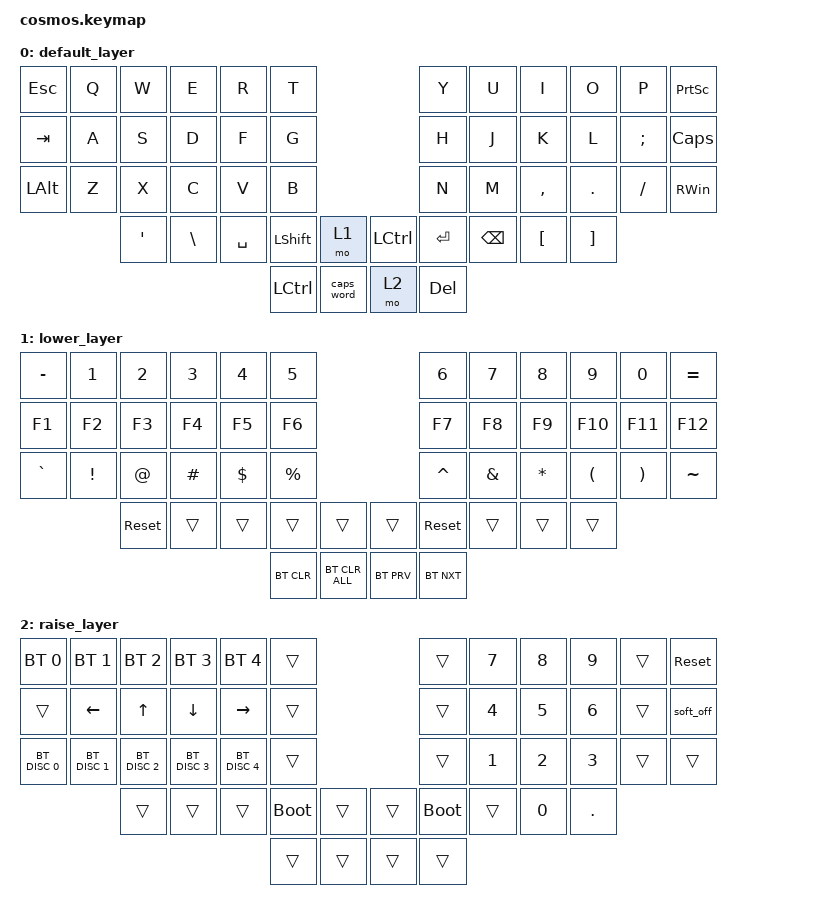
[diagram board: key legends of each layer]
/*
 * Copyright (c) 2020 The ZMK Contributors
 *
 * SPDX-License-Identifier: MIT
 */

#include <behaviors.dtsi>
#include <dt-bindings/zmk/bt.h>
#include <dt-bindings/zmk/keys.h>

/ {
    keymap {
        compatible = "zmk,keymap";

        default_layer {
            // ------------------------------------------------------------------------------------------------------------
            // |  ESC  |  1  |  2  |  3   |  4   |  5   |                   |  6   |  7    |  8    |  9   |   0   |   `   |
            // |  TAB  |  Q  |  W  |  E   |  R   |  T   |                   |  Y   |  U    |  I    |  O   |   P   |   -   |
            // |  CTRL |  A  |  S  |  D   |  F   |  G   |                   |  H   |  J    |  K    |  L   |   ;   |   '   |
            // | SHIFT |  Z  |  X  |  C   |  V   |  B   |   "["  |  |  "]"  |  N   |  M    |  ,    |  .   |   /   | SHIFT |
            //                            | GUI  | LOWER|  SPACE |  | ENTER | RAISE|  ALT  |

            bindings = <
&kp ESC       &kp Q  &kp W    &kp E     &kp R      &kp T                              &kp Y      &kp U          &kp I             &kp O              &kp P      &kp PRINTSCREEN
&kp TAB       &kp A  &kp S    &kp D     &kp F      &kp G                              &kp H      &kp J          &kp K             &kp L              &kp SEMI   &kp CAPSLOCK
&kp LEFT_ALT  &kp Z  &kp X    &kp C     &kp V      &kp B                              &kp N      &kp M          &kp COMMA         &kp PERIOD         &kp SLASH  &kp RIGHT_WIN
                     &kp SQT  &kp BSLH  &kp SPACE  &kp LSHIFT  &mo 1       &kp LCTRL  &kp ENTER  &kp BACKSPACE  &kp LEFT_BRACKET  &kp RIGHT_BRACKET
                                                   &kp LCTRL   &caps_word  &mo 2      &kp DEL
            >;
        };

        lower_layer {
            // ------------------------------------------------------------------------------------------------------------
            // | BTCLR | BT1 | BT2 |  BT3 |  BT4 |  BT5 |                   |      |       |       |      |       |       |
            // |  F1   |  F2 |  F3 |  F4  |  F5  |  F6  |                   |  F7  |  F8   |  F9   |  F10 |  F11  |  F12  |
            // |   `   |  !  |  @  |  #   |  $   |  %   |                   |  ^   |  &    |  *    |  (   |   )   |   ~   |
            // |       |     |     |      |      |      |        |  |       |      |  _    |  +    |  {   |   }   |  "|"  |
            //                            |      |      |        |  |       |      |       |

            bindings = <
&kp MINUS  &kp NUMBER_1  &kp NUMBER_2  &kp NUMBER_3  &kp NUMBER_4  &kp NUMBER_5                              &kp NUMBER_6  &kp NUMBER_7  &kp NUMBER_8  &kp NUMBER_9  &kp NUMBER_0  &kp EQUAL
&kp F1     &kp F2        &kp F3        &kp F4        &kp F5        &kp F6                                    &kp F7        &kp F8        &kp F9        &kp F10       &kp F11       &kp F12
&kp GRAVE  &kp EXCL      &kp AT        &kp HASH      &kp DOLLAR    &kp PRCNT                                 &kp CARET     &kp AMPS      &kp ASTRK     &kp LPAR      &kp RPAR      &kp TILDE
                         &sys_reset    &trans        &trans        &trans        &trans          &trans      &sys_reset    &trans        &trans        &trans
                                                                   &bt BT_CLR    &bt BT_CLR_ALL  &bt BT_PRV  &bt BT_NXT
            >;
        };

        raise_layer {
            // ------------------------------------------------------------------------------------------------------------
            // |       |     |     |      |      |      |                   |      |       |       |      |       |       |
            // |   `   |  1  |  2  |  3   |  4   |  5   |                   |  6   |   7   |   8   |  9   |   0   |       |
            // |   F1  |  F2 |  F3 |  F4  |  F5  |  F6  |                   |      |   <-  |   ^   |  v   |  ->   |       |
            // |   F7  |  F8 |  F9 |  F10 |  F11 |  F12 |        |  |       |  +   |   -   |   =   |  [   |   ]   |   \   |
            //                            |      |      |        |  |       |      |       |

            bindings = <
&bt BT_SEL 0   &bt BT_SEL 1   &bt BT_SEL 2   &bt BT_SEL 3   &bt BT_SEL 4   &trans                       &trans       &kp N7  &kp N8  &kp N9      &trans  &sys_reset
&trans         &kp LEFT       &kp UP_ARROW   &kp DOWN       &kp RIGHT      &trans                       &trans       &kp N4  &kp N5  &kp N6      &trans  &soft_off
&bt BT_DISC 0  &bt BT_DISC 1  &bt BT_DISC 2  &bt BT_DISC 3  &bt BT_DISC 4  &trans                       &trans       &kp N1  &kp N2  &kp N3      &trans  &trans
                              &trans         &trans         &trans         &bootloader  &trans  &trans  &bootloader  &trans  &kp N0  &kp PERIOD
                                                                           &trans       &trans  &trans  &trans
            >;
        };
    };
};
